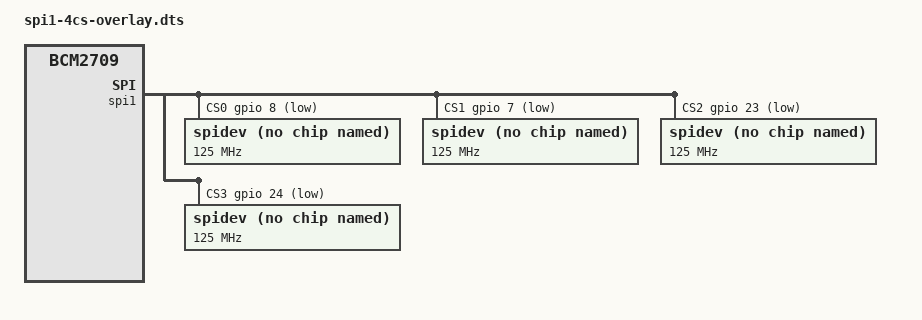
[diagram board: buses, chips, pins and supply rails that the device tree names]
/dts-v1/;
/plugin/;

/ {
	compatible = "brcm,bcm2835", "brcm,bcm2836", "brcm,bcm2708", "brcm,bcm2709";

	fragment@0 {
		target = <&spi1>;
		frag0: __overlay__ {
			#address-cells = <1>;
			#size-cells = <0>;
			pinctrl-1 = <&spi1_pins &spi1_cs_pins>;
			status = "okay";
			cs-gpios = <&gpio 8 1>, <&gpio 7 1>, <&gpio 23 1>, <&gpio 24 1>;
			
			spidev@0{
				compatible = "spidev";
				reg = <0>;	/* CE0 */
				#address-cells = <1>;
				#size-cells = <0>;
				spi-max-frequency = <0x7735940>;
			};

			spidev@1{
				compatible = "spidev";
				reg = <1>;	/* CE1 */
				#address-cells = <1>;
				#size-cells = <0>;
				spi-max-frequency = <0x7735940>;
			};
			
			spidev@2{
				compatible = "spidev";
				reg = <2>;	/* CE2 */
				#address-cells = <1>;
				#size-cells = <0>;
				spi-max-frequency = <0x7735940>;
			};

			spidev@3{
				compatible = "spidev";
				reg = <3>;	/* CE3 */
				#address-cells = <1>;
				#size-cells = <0>;
				spi-max-frequency = <0x7735940>;
			};
		};
	};

	fragment@1 {
		target = <&gpio>;
		__overlay__ {
			spi1_cs_pins: spi1_cs_pins {
				brcm,pins = <8 7 23 24>;
				brcm,function = <1>; /* out */
			};
		};
	};

	__overrides__ {
		cs0_pin = <&frag0>,"cs-gpios:12", <&spi1_cs_pins>,"brcm,pins:0";
		cs1_pin = <&frag0>,"cs-gpios:24", <&spi1_cs_pins>,"brcm,pins:4";
		cs2_pin = <&frag0>,"cs-gpios:36", <&spi1_cs_pins>,"brcm,pins:8";
		cs3_pin = <&frag0>,"cs-gpios:48", <&spi1_cs_pins>,"brcm,pins:12";
	};
};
